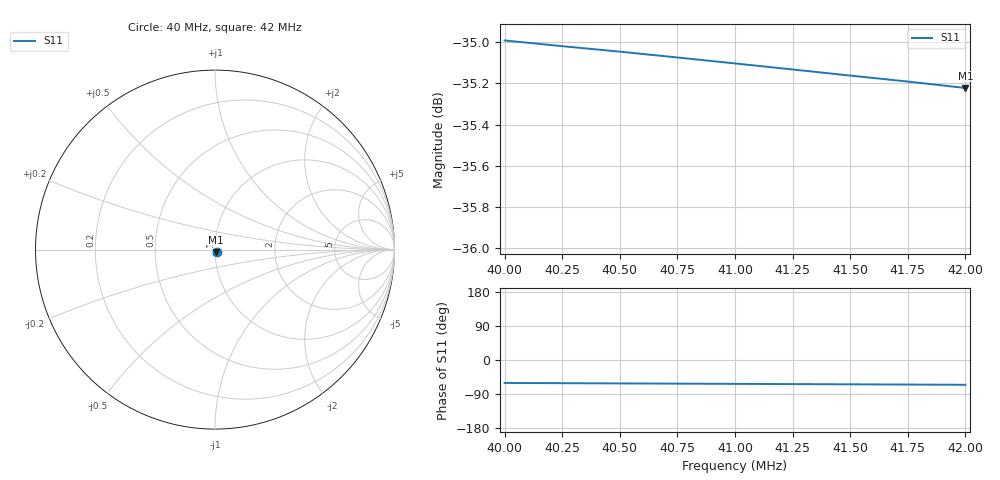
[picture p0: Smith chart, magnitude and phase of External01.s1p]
# Hz S RI R 50
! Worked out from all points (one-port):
!   9 points, 40 MHz to 42 MHz, reference 50 ohm
!   lowest |S11| = -35.2 dB at 42 MHz (marker M1), VSWR 1.04, Z = 50.7 - j1.6 ohm
!   |S11| at or under -10 dB: start of sweep to end of sweep
4e7  0.00875 -0.0155
4.025e7  0.00856 -0.0155
4.05e7  0.00837 -0.0156
4.075e7  0.00818 -0.0156
4.1e7  0.00799 -0.0157
4.125e7  0.00779 -0.0157
4.15e7  0.0076 -0.0157
4.175e7  0.00741 -0.0157
4.2e7  0.00722 -0.0158
